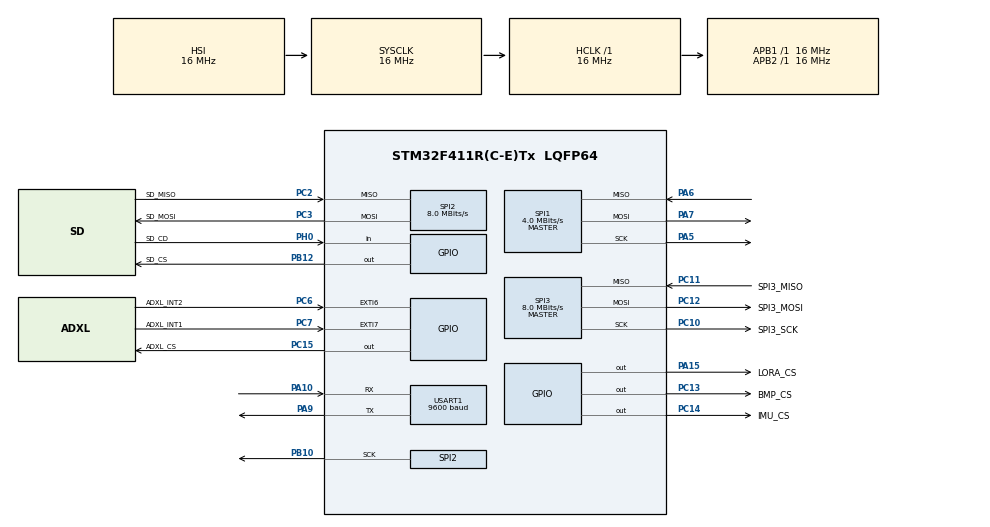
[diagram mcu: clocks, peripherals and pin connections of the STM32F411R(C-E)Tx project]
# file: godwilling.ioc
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FREERTOS.Tasks01=defaultTask,24,128,StartDefaultTask,Default,NULL,Dynamic,NULL,NULL
FREERTOS.configUSE_NEWLIB_REENTRANT=1
Mcu.Family=STM32F4
Mcu.Name=STM32F411R(C-E)Tx
Mcu.Package=LQFP64
NVIC.EXTI9_5_IRQn=true\:5\:0\:false\:false\:true\:true\:true\:true\:true
NVIC.PriorityGroup=NVIC_PRIORITYGROUP_4
NVIC.TIM1_TRG_COM_TIM11_IRQn=true\:15\:0\:false\:false\:true\:false\:false\:true\:true
NVIC.TimeBase=TIM1_TRG_COM_TIM11_IRQn
NVIC.TimeBaseIP=TIM11
PA10.Mode=Asynchronous
PA10.Signal=USART1_RX
PA13.Mode=Trace_Asynchronous_SW
PA13.Signal=SYS_JTMS-SWDIO
PA14.Mode=Trace_Asynchronous_SW
PA14.Signal=SYS_JTCK-SWCLK
PA15.GPIO_Label=LORA_CS
PA15.PinState=GPIO_PIN_SET
PA15.Signal=GPIO_Output
PA5.Mode=Full_Duplex_Master
PA5.Signal=SPI1_SCK
PA6.Mode=Full_Duplex_Master
PA6.Signal=SPI1_MISO
PA7.Mode=Full_Duplex_Master
PA7.Signal=SPI1_MOSI
PA9.Mode=Asynchronous
PA9.Signal=USART1_TX
PB10.GPIO_Mode=GPIO_MODE_AF_PP
PB10.GPIO_PuPd=GPIO_NOPULL
PB10.GPIO_Speed=GPIO_SPEED_FREQ_VERY_HIGH
PB10.Mode=Full_Duplex_Master
PB10.Signal=SPI2_SCK
PB12.GPIO_Label=SD_CS
PB12.PinState=GPIO_PIN_SET
PB12.Signal=GPIO_Output
PB3.Mode=Trace_Asynchronous_SW
PB3.Signal=SYS_JTDO-SWO
PC10.GPIO_Label=SPI3_SCK
PC10.Mode=Full_Duplex_Master
PC10.Signal=SPI3_SCK
PC11.GPIO_Label=SPI3_MISO
PC11.Mode=Full_Duplex_Master
PC11.Signal=SPI3_MISO
PC12.GPIO_Label=SPI3_MOSI
PC12.Mode=Full_Duplex_Master
PC12.Signal=SPI3_MOSI
PC13-ANTI_TAMP.GPIO_Label=BMP_CS
PC13-ANTI_TAMP.PinState=GPIO_PIN_SET
PC13-ANTI_TAMP.Signal=GPIO_Output
PC14-OSC32_IN.GPIO_Label=IMU_CS
PC14-OSC32_IN.PinState=GPIO_PIN_SET
PC14-OSC32_IN.Signal=GPIO_Output
PC15-OSC32_OUT.GPIO_Label=ADXL_CS
PC15-OSC32_OUT.PinState=GPIO_PIN_SET
PC15-OSC32_OUT.Signal=GPIO_Output
PC2.GPIO_Label=SD_MISO
PC2.GPIO_Mode=GPIO_MODE_AF_PP
PC2.GPIO_PuPd=GPIO_PULLUP
PC2.GPIO_Speed=GPIO_SPEED_FREQ_VERY_HIGH
PC2.Mode=Full_Duplex_Master
PC2.Signal=SPI2_MISO
PC3.GPIO_Label=SD_MOSI
PC3.GPIO_Mode=GPIO_MODE_AF_PP
PC3.GPIO_PuPd=GPIO_NOPULL
PC3.GPIO_Speed=GPIO_SPEED_FREQ_VERY_HIGH
PC3.Mode=Full_Duplex_Master
PC3.Signal=SPI2_MOSI
PC6.GPIO_Label=ADXL_INT2
PC6.GPIO_PuPd=GPIO_PULLDOWN
PC6.Signal=GPXTI6
PC7.GPIO_Label=ADXL_INT1
PC7.GPIO_PuPd=GPIO_PULLDOWN
PC7.Signal=GPXTI7
PH0\ -\ OSC_IN.GPIO_Label=SD_CD
PH0\ -\ OSC_IN.GPIO_PuPd=GPIO_PULLUP
PH0\ -\ OSC_IN.Signal=GPIO_Input
ProjectManager.HeapSize=0x200
ProjectManager.StackSize=0x400
ProjectManager.TargetToolchain=STM32CubeIDE
RCC.48MHZClocksFreq_Value=40000000
RCC.AHBFreq_Value=16000000
RCC.APB1Freq_Value=16000000
RCC.APB1TimFreq_Value=16000000
RCC.APB2Freq_Value=16000000
RCC.APB2TimFreq_Value=16000000
RCC.CortexFreq_Value=16000000
RCC.FLatency-AdvancedSettings=FLASH_LATENCY_0
RCC.HCLKFreq_Value=16000000
RCC.HSE_VALUE=8000000
RCC.HSI_VALUE=16000000
RCC.LSE_VALUE=32768
RCC.PLLM=8
RCC.PLLN=80
RCC.SYSCLKFreq_VALUE=16000000
RCC.VCOOutputFreq_Value=160000000
SPI1.BaudRatePrescaler=SPI_BAUDRATEPRESCALER_4
SPI1.CLKPhase=SPI_PHASE_2EDGE
SPI1.CLKPolarity=SPI_POLARITY_HIGH
SPI1.CalculateBaudRate=4.0 MBits/s
SPI1.Direction=SPI_DIRECTION_2LINES
SPI1.Mode=SPI_MODE_MASTER
SPI1.VirtualType=VM_MASTER
SPI2.CalculateBaudRate=8.0 MBits/s
SPI2.Direction=SPI_DIRECTION_2LINES
SPI2.Mode=SPI_MODE_MASTER
SPI2.VirtualType=VM_MASTER
SPI3.CalculateBaudRate=8.0 MBits/s
SPI3.Direction=SPI_DIRECTION_2LINES
SPI3.Mode=SPI_MODE_MASTER
SPI3.VirtualType=VM_MASTER
USART1.BaudRate=9600
USART1.VirtualMode=VM_ASYNC
VP_FATFS_VS_Generic.Mode=User_defined
VP_FREERTOS_VS_CMSIS_V2.Mode=CMSIS_V2
VP_SYS_VS_tim11.Mode=TIM11
VP_TIM3_VS_ClockSourceINT.Mode=Internal
board=NUCLEO-F411RE

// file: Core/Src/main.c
/* USER CODE BEGIN Header */
/**
  ******************************************************************************
  * @file           : main.c
  * @brief          : Main program body
  ******************************************************************************
  * @attention
  *
  * Copyright (c) 2026 STMicroelectronics.
  * All rights reserved.
  *
  * This software is licensed under terms that can be found in the LICENSE file
  * in the root directory of this software component.
  * If no LICENSE file comes with this software, it is provided AS-IS.
  *
  ******************************************************************************
  */
/* USER CODE END Header */
#include "main.h"
#include "cmsis_os.h"
#include "fatfs.h"
#include "freeRTOS.h"

/* USER CODE BEGIN Includes */
#include <stdio.h>
#include "semphr.h"
#include "bmp585.h"
#include "bme280.h"
#include "ra02.h"
#include "adxl314.h"
#include "imu.h"
#include "gnss.h"
#include "shared_data.h"
#include "sd.h"

/* USER CODE END Includes */

SPI_HandleTypeDef hspi1;
SPI_HandleTypeDef hspi2;
SPI_HandleTypeDef hspi3;

TIM_HandleTypeDef htim3;

UART_HandleTypeDef huart1;

/* Definitions for defaultTask */
osThreadId_t defaultTaskHandle;
const osThreadAttr_t defaultTask_attributes = {
  .name = "defaultTask",
  .stack_size =  1024 * 4,
  .priority = (osPriority_t) osPriorityNormal,
};

/* USER CODE BEGIN PV */

//ADXL314_Data_t accel_data;

// ADXL data ready variable for interrupt
volatile uint8_t adxl_data_ready = 0;
/* USER CODE END PV */

void SystemClock_Config(void);
static void MX_GPIO_Init(void);
static void MX_SPI1_Init(void);
static void MX_TIM3_Init(void);
static void MX_SPI3_Init(void);
static void MX_USART1_UART_Init(void);
static void MX_SPI2_Init(void);
void StartDefaultTask(void *argument);

/* USER CODE BEGIN 0 */

// re assign printf for SWV ITM data console
int _write(int file, char *ptr, int len)
{
  for (int i = 0; i < len; i++)
  {
    ITM_SendChar((uint32_t)ptr[i]);
  }
  return len;
}

/* USER CODE END 0 */

int main(void)
{

  /* MCU Configuration--------------------------------------------------------*/

  /* Reset of all peripherals, Initializes the Flash interface and the Systick. */
  HAL_Init();

  /* Configure the system clock */
  SystemClock_Config();

  /* Initialize all configured peripherals */
  MX_GPIO_Init();
  MX_SPI1_Init();
  MX_FATFS_Init();
  MX_TIM3_Init();
  MX_SPI3_Init();
  MX_USART1_UART_Init();
  MX_SPI2_Init();
  /* USER CODE BEGIN 2 */
  printf("Hello\r\n");
  ADXL314_Init();
  ADXL_Configure_Int();

  // BMP585 -- kept for reference, not deleted, superseded by BME280 below
  // BMP585_Init();
  // uint8_t pres_temp_data[6];
  // BMP585_Data_t pres_temp_real_data;

//  BME280_Init();
//  BME280_Data_t bme_data;

  //ADXL314_Init();

  //GNSS_Init();

  /* USER CODE END 2 */

  /* Init scheduler */
  osKernelInitialize();

  /* Create the thread(s) */
  /* creation of defaultTask */
//  defaultTaskHandle = osThreadNew(StartDefaultTask, NULL, &defaultTask_attributes);

  /* USER CODE BEGIN RTOS_THREADS */
  vSensorTasksInit();
  /* add threads, ... */

  /* USER CODE END RTOS_THREADS */

  /* Start scheduler */
  osKernelStart();

  /* We should never get here as control is now taken by the scheduler */

  /* Infinite loop */
  /* USER CODE BEGIN WHILE */
  while (1)
  {

//	  BME280_Extract_Data(&bme_data);
//	  printf("TEMP: %.2f °C, PRES: %.2f hPa\r\n", bme_data.temperature, bme_data.pressure);
//	  HAL_Delay(1000);

	  // ADXL read chip ID, should be 0xE5

//	  uint8_t adxl_chipID = ADXL314_ReadReg(0x00);
//	  printf("ADXL chip ID = %X \r\n", adxl_chipID);
//
//
//
//	  // ADXL full x,y,z data read (may need calibration factor from new)
//
//	  ADXL314_ReadAccel(&accel_data);
//	  printf("X: %.2f g, Y: %.2f g, Z: %.2f g\r\n", accel_data.x_g, accel_data.y_g, accel_data.z_g);

	  /*
	  if (GNSS_Poll())
	      {
	          const char* sentence = GNSS_GetSentence();
	          printf("%s", sentence);
	      }
	*/

//	  HAL_Delay(50);

    /* USER CODE END WHILE */

  }
}

void SystemClock_Config(void)
{
  RCC_OscInitTypeDef RCC_OscInitStruct = {0};
  RCC_ClkInitTypeDef RCC_ClkInitStruct = {0};

  /** Configure the main internal regulator output voltage
  */
  __HAL_RCC_PWR_CLK_ENABLE();
  __HAL_PWR_VOLTAGESCALING_CONFIG(PWR_REGULATOR_VOLTAGE_SCALE1);

  /** Initializes the RCC Oscillators according to the specified parameters
  * in the RCC_OscInitTypeDef structure.
  */
  RCC_OscInitStruct.OscillatorType = RCC_OSCILLATORTYPE_HSI;
  RCC_OscInitStruct.HSIState = RCC_HSI_ON;
  RCC_OscInitStruct.HSICalibrationValue = RCC_HSICALIBRATION_DEFAULT;
  RCC_OscInitStruct.PLL.PLLState = RCC_PLL_NONE;
  if (HAL_RCC_OscConfig(&RCC_OscInitStruct) != HAL_OK)
  {
    Error_Handler();
  }

  /** Initializes the CPU, AHB and APB buses clocks
  */
  RCC_ClkInitStruct.ClockType = RCC_CLOCKTYPE_HCLK|RCC_CLOCKTYPE_SYSCLK
                              |RCC_CLOCKTYPE_PCLK1|RCC_CLOCKTYPE_PCLK2;
  RCC_ClkInitStruct.SYSCLKSource = RCC_SYSCLKSOURCE_HSI;
  RCC_ClkInitStruct.AHBCLKDivider = RCC_SYSCLK_DIV1;
  RCC_ClkInitStruct.APB1CLKDivider = RCC_HCLK_DIV1;
  RCC_ClkInitStruct.APB2CLKDivider = RCC_HCLK_DIV1;

  if (HAL_RCC_ClockConfig(&RCC_ClkInitStruct, FLASH_LATENCY_0) != HAL_OK)
  {
    Error_Handler();
  }
}

static void MX_SPI1_Init(void)
{

  /* SPI1 parameter configuration*/
  hspi1.Instance = SPI1;
  hspi1.Init.Mode = SPI_MODE_MASTER;
  hspi1.Init.Direction = SPI_DIRECTION_2LINES;
  hspi1.Init.DataSize = SPI_DATASIZE_8BIT;
  hspi1.Init.CLKPolarity = SPI_POLARITY_HIGH;
  hspi1.Init.CLKPhase = SPI_PHASE_2EDGE;
  hspi1.Init.NSS = SPI_NSS_SOFT;
  hspi1.Init.BaudRatePrescaler = SPI_BAUDRATEPRESCALER_4;
  hspi1.Init.FirstBit = SPI_FIRSTBIT_MSB;
  hspi1.Init.TIMode = SPI_TIMODE_DISABLE;
  hspi1.Init.CRCCalculation = SPI_CRCCALCULATION_DISABLE;
  hspi1.Init.CRCPolynomial = 10;
  if (HAL_SPI_Init(&hspi1) != HAL_OK)
  {
    Error_Handler();
  }

}

static void MX_SPI2_Init(void)
{

  /* SPI2 parameter configuration*/
  hspi2.Instance = SPI2;
  hspi2.Init.Mode = SPI_MODE_MASTER;
  hspi2.Init.Direction = SPI_DIRECTION_2LINES;
  hspi2.Init.DataSize = SPI_DATASIZE_8BIT;
  hspi2.Init.CLKPolarity = SPI_POLARITY_LOW;
  hspi2.Init.CLKPhase = SPI_PHASE_1EDGE;
  hspi2.Init.NSS = SPI_NSS_SOFT;
  hspi2.Init.BaudRatePrescaler = SPI_BAUDRATEPRESCALER_2;
  hspi2.Init.FirstBit = SPI_FIRSTBIT_MSB;
  hspi2.Init.TIMode = SPI_TIMODE_DISABLE;
  hspi2.Init.CRCCalculation = SPI_CRCCALCULATION_DISABLE;
  hspi2.Init.CRCPolynomial = 10;
  if (HAL_SPI_Init(&hspi2) != HAL_OK)
  {
    Error_Handler();
  }

}

static void MX_SPI3_Init(void)
{

  /* SPI3 parameter configuration*/
  hspi3.Instance = SPI3;
  hspi3.Init.Mode = SPI_MODE_MASTER;
  hspi3.Init.Direction = SPI_DIRECTION_2LINES;
  hspi3.Init.DataSize = SPI_DATASIZE_8BIT;
  hspi3.Init.CLKPolarity = SPI_POLARITY_LOW;
  hspi3.Init.CLKPhase = SPI_PHASE_1EDGE;
  hspi3.Init.NSS = SPI_NSS_SOFT;
  hspi3.Init.BaudRatePrescaler = SPI_BAUDRATEPRESCALER_2;
  hspi3.Init.FirstBit = SPI_FIRSTBIT_MSB;
  hspi3.Init.TIMode = SPI_TIMODE_DISABLE;
  hspi3.Init.CRCCalculation = SPI_CRCCALCULATION_DISABLE;
  hspi3.Init.CRCPolynomial = 10;
  if (HAL_SPI_Init(&hspi3) != HAL_OK)
  {
    Error_Handler();
  }

}

static void MX_TIM3_Init(void)
{

  TIM_ClockConfigTypeDef sClockSourceConfig = {0};
  TIM_MasterConfigTypeDef sMasterConfig = {0};

  htim3.Instance = TIM3;
  htim3.Init.Prescaler = 0;
  htim3.Init.CounterMode = TIM_COUNTERMODE_UP;
  htim3.Init.Period = 65535;
  htim3.Init.ClockDivision = TIM_CLOCKDIVISION_DIV1;
  htim3.Init.AutoReloadPreload = TIM_AUTORELOAD_PRELOAD_DISABLE;
  if (HAL_TIM_Base_Init(&htim3) != HAL_OK)
  {
    Error_Handler();
  }
  sClockSourceConfig.ClockSource = TIM_CLOCKSOURCE_INTERNAL;
  if (HAL_TIM_ConfigClockSource(&htim3, &sClockSourceConfig) != HAL_OK)
  {
    Error_Handler();
  }
  sMasterConfig.MasterOutputTrigger = TIM_TRGO_RESET;
  sMasterConfig.MasterSlaveMode = TIM_MASTERSLAVEMODE_DISABLE;
  if (HAL_TIMEx_MasterConfigSynchronization(&htim3, &sMasterConfig) != HAL_OK)
  {
    Error_Handler();
  }

}

static void MX_USART1_UART_Init(void)
{

  huart1.Instance = USART1;
  huart1.Init.BaudRate = 9600;
  huart1.Init.WordLength = UART_WORDLENGTH_8B;
  huart1.Init.StopBits = UART_STOPBITS_1;
  huart1.Init.Parity = UART_PARITY_NONE;
  huart1.Init.Mode = UART_MODE_TX_RX;
  huart1.Init.HwFlowCtl = UART_HWCONTROL_NONE;
  huart1.Init.OverSampling = UART_OVERSAMPLING_16;
  if (HAL_UART_Init(&huart1) != HAL_OK)
  {
    Error_Handler();
  }

}

static void MX_GPIO_Init(void)
{
  GPIO_InitTypeDef GPIO_InitStruct = {0};

  /* GPIO Ports Clock Enable */
  __HAL_RCC_GPIOC_CLK_ENABLE();
  __HAL_RCC_GPIOH_CLK_ENABLE();
  __HAL_RCC_GPIOA_CLK_ENABLE();
  __HAL_RCC_GPIOB_CLK_ENABLE();

  /*Configure GPIO pin Output Level */
  HAL_GPIO_WritePin(GPIOC, BMP_CS_Pin|IMU_CS_Pin|ADXL_CS_Pin, GPIO_PIN_SET);

  /*Configure GPIO pin Output Level */
  HAL_GPIO_WritePin(SD_CS_GPIO_Port, SD_CS_Pin, GPIO_PIN_SET);

  /*Configure GPIO pin Output Level */
  HAL_GPIO_WritePin(LORA_CS_GPIO_Port, LORA_CS_Pin, GPIO_PIN_SET);

  /*Configure GPIO pins : BMP_CS_Pin IMU_CS_Pin ADXL_CS_Pin */
  GPIO_InitStruct.Pin = BMP_CS_Pin|IMU_CS_Pin|ADXL_CS_Pin;
  GPIO_InitStruct.Mode = GPIO_MODE_OUTPUT_PP;
  GPIO_InitStruct.Pull = GPIO_NOPULL;
  GPIO_InitStruct.Speed = GPIO_SPEED_FREQ_LOW;
  HAL_GPIO_Init(GPIOC, &GPIO_InitStruct);

  /*Configure GPIO pin : SD_CD_Pin */
  GPIO_InitStruct.Pin = SD_CD_Pin;
  GPIO_InitStruct.Mode = GPIO_MODE_INPUT;
  GPIO_InitStruct.Pull = GPIO_PULLUP;
  HAL_GPIO_Init(SD_CD_GPIO_Port, &GPIO_InitStruct);

  /*Configure GPIO pin : SD_CS_Pin */
  GPIO_InitStruct.Pin = SD_CS_Pin;
  GPIO_InitStruct.Mode = GPIO_MODE_OUTPUT_PP;
  GPIO_InitStruct.Pull = GPIO_NOPULL;
  GPIO_InitStruct.Speed = GPIO_SPEED_FREQ_LOW;
  HAL_GPIO_Init(SD_CS_GPIO_Port, &GPIO_InitStruct);

  /*Configure GPIO pins : ADXL_INT2_Pin ADXL_INT1_Pin */
  GPIO_InitStruct.Pin = ADXL_INT2_Pin|ADXL_INT1_Pin;
  GPIO_InitStruct.Mode = GPIO_MODE_IT_RISING;
  GPIO_InitStruct.Pull = GPIO_PULLDOWN;
  HAL_GPIO_Init(GPIOC, &GPIO_InitStruct);

  /*Configure GPIO pin : LORA_CS_Pin */
  GPIO_InitStruct.Pin = LORA_CS_Pin;
  GPIO_InitStruct.Mode = GPIO_MODE_OUTPUT_PP;
  GPIO_InitStruct.Pull = GPIO_NOPULL;
  GPIO_InitStruct.Speed = GPIO_SPEED_FREQ_LOW;
  HAL_GPIO_Init(LORA_CS_GPIO_Port, &GPIO_InitStruct);

  /* EXTI interrupt init*/
  HAL_NVIC_SetPriority(EXTI9_5_IRQn, 5, 0);
  HAL_NVIC_EnableIRQ(EXTI9_5_IRQn);

}

/* USER CODE BEGIN 4 */

// ADXL interrupt
void HAL_GPIO_EXTI_Callback(uint16_t GPIO_Pin)
{
  if (GPIO_Pin == ADXL_INT1_Pin) // substitute your actual macro name from main.h
  {
//	BaseType_t xHigherPriorityTaskWoken = pdFALSE;
    adxl_data_ready = 1;
//    xSemaphoreGiveFromISR(accelDataReadySem, &xHigherPriorityTaskWoken);
//    portYIELD_FROM_ISR(xHigherPriorityTaskWoken);
  }
}

/* USER CODE END 4 */

void StartDefaultTask(void *argument)
{

//	FRESULT res = 0;
  /* USER CODE BEGIN 5 */
//	SDLogger_Init();
  /* Infinite loop */
  for(;;)
  {
	  //test bmp chip ID with single reg read
	  //uint8_t bmp_chipID = BMP585_ReadReg(0x01);
	  //printf("chip id = %X \r\n", bmp_chipID);
//	  printf("CD pin state: %d\r\n", HAL_GPIO_ReadPin(SD_CD_GPIO_Port, SD_CD_Pin));
//	  res = SDLogger_WriteLine("Hello");

	  //bmp full 6 byte read test

	  /*
	  BMP585_BurstReadData(pres_temp_data);

	  for (uint8_t i = 0; i < 6; i++) {
		  printf("%02X \r\n", pres_temp_data[i]);
	  }
	  */

//	  BMP585_Extract_Data(&pres_temp_real_data);
//	  printf("TEMP: %.2f, PRES: %.2f\r\n", pres_temp_real_data.temperature, pres_temp_real_data.pressure);

	  // ADXL read chip ID, should be 0xE5

//	  uint8_t adxl_chipID = ADXL314_ReadReg(0x00);
//	  printf("ADXL chip ID = %X \r\n", adxl_chipID);

	  // ADXL full x,y,z data read (may need calibration factor from new)

//	  ADXL314_ReadAccel(&accel_data);
//	  printf("X: %.2f g, Y: %.2f g, Z: %.2f g\r\n", accel_data.x_g, accel_data.y_g, accel_data.z_g);

//	  imu_who_am_i = IMU_ReadReg(0xF0); // WHO_AM_I, expect 0x6C
//	  printf("IMU WhoAmI = %X \r\n", imu_who_am_i);

	  /*
	  if (GNSS_Poll())
	      {
	          const char* sentence = GNSS_GetSentence();
	          printf("%s", sentence);
	      }
	*/

	  osDelay(1);
  }
  /* USER CODE END 5 */
}

void HAL_TIM_PeriodElapsedCallback(TIM_HandleTypeDef *htim)
{
  if (htim->Instance == TIM11)
  {
    HAL_IncTick();
  }
}

void Error_Handler(void)
{
  __disable_irq();
  while (1)
  {
  }
}

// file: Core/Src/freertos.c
/* USER CODE BEGIN Header */
/**
  ******************************************************************************
  * File Name          : freertos.c
  * Description        : Code for freertos applications
  ******************************************************************************
  * @attention
  *
  * Copyright (c) 2026 STMicroelectronics.
  * All rights reserved.
  *
  * This software is licensed under terms that can be found in the LICENSE file
  * in the root directory of this software component.
  * If no LICENSE file comes with this software, it is provided AS-IS.
  *
  ******************************************************************************
  */
/* USER CODE END Header */

#include "FreeRTOS.h"
#include "task.h"
#include "main.h"

/* USER CODE BEGIN Includes */
#include "semphr.h"
#include "bme280.h"
#include "adxl314.h"
#include "shared_data.h"
/* USER CODE END Includes */

/* USER CODE BEGIN Variables */
SemaphoreHandle_t spiBusMutex;
SemaphoreHandle_t bmpMutex;
SemaphoreHandle_t accelMutex;
SemaphoreHandle_t accelDataReadySem;
BME280_Data_t latest_bmp;
BME280_Data_t bme_data;
ADXL314_Data_t accel_data;
ADXL314_Data_t latest_accel;
/* USER CODE END Variables */

/* USER CODE BEGIN FunctionPrototypes */
void vTaskBMP(void *pvParameters);
void vSensorTasksInit(void);
void vTaskAccel(void *pvParameters);
void vDeadReckoningTask(void *pvParameters);
/* USER CODE END FunctionPrototypes */

/* USER CODE BEGIN Application */

void vSensorTasksInit(void) {
    spiBusMutex = xSemaphoreCreateMutex();
    bmpMutex = xSemaphoreCreateMutex();
    accelMutex = xSemaphoreCreateMutex();
    accelDataReadySem = xSemaphoreCreateBinary();

    xTaskCreate(vTaskBMP, "BMP", 256, NULL, tskIDLE_PRIORITY + 3, NULL);
    xTaskCreate(vTaskAccel, "Accel", 256, NULL, tskIDLE_PRIORITY + 3, NULL);
    xTaskCreate(vDeadReckoningTask, "DeadReckoning", 512, NULL, tskIDLE_PRIORITY + 4, NULL);
}

void vTaskBMP(void *pvParameters) {
    BME280_Init();

    for (;;) {
        if (xSemaphoreTake(spiBusMutex, portMAX_DELAY) == pdTRUE) {
            BME280_Extract_Data(&bme_data);
            bme_data.timestamp = xTaskGetTickCount();
            xSemaphoreGive(spiBusMutex);

            if (xSemaphoreTake(bmpMutex, portMAX_DELAY) == pdTRUE) {
                latest_bmp = bme_data;
                xSemaphoreGive(bmpMutex);
            }

            // debug only — remove once telemetry/logging consume latest_bmp instead
            printf("TEMP: %.2f C, PRES: %.2f Pa\r\n", latest_bmp.temperature, latest_bmp.pressure);
        }

        vTaskDelay(pdMS_TO_TICKS(20));
    }
}

void vTaskAccel(void *pvParameters) {
    ADXL314_Init();
    ADXL_Configure_Int();

    for (;;) {
        xSemaphoreTake(accelDataReadySem, portMAX_DELAY);

        if (xSemaphoreTake(spiBusMutex, portMAX_DELAY) == pdTRUE) {
            ADXL314_ReadAccel(&accel_data);
            accel_data.timestamp =xTaskGetTickCount();
            xSemaphoreGive(spiBusMutex);

            if (xSemaphoreTake(accelMutex, portMAX_DELAY) == pdTRUE) {
                latest_accel = accel_data;
                xSemaphoreGive(accelMutex);
            }

            // debug only — remove once dead-reckoning task consumes latest_accel instead
            printf("X: %.2f g, Y: %.2f g, Z: %.2f g\r\n", latest_accel.x_g, latest_accel.y_g, latest_accel.z_g);
        }
    }
}
/* USER CODE END Application */
